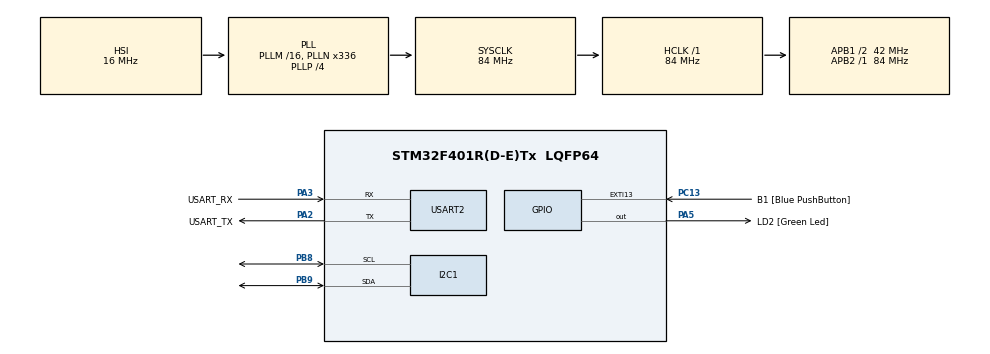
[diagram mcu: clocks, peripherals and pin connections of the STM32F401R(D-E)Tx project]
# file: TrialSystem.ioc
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Mcu.Family=STM32F4
Mcu.Name=STM32F401R(D-E)Tx
Mcu.Package=LQFP64
NVIC.PriorityGroup=NVIC_PRIORITYGROUP_0
PA13.GPIO_Label=TMS
PA13.Mode=Serial_Wire
PA13.Signal=SYS_JTMS-SWDIO
PA14.GPIO_Label=TCK
PA14.Mode=Serial_Wire
PA14.Signal=SYS_JTCK-SWCLK
PA2.GPIO_Label=USART_TX
PA2.GPIO_Mode=GPIO_MODE_AF_PP
PA2.GPIO_PuPd=GPIO_NOPULL
PA2.GPIO_Speed=GPIO_SPEED_FREQ_LOW
PA2.Mode=Asynchronous
PA2.Signal=USART2_TX
PA3.GPIO_Label=USART_RX
PA3.GPIO_Mode=GPIO_MODE_AF_PP
PA3.GPIO_PuPd=GPIO_NOPULL
PA3.GPIO_Speed=GPIO_SPEED_FREQ_LOW
PA3.Mode=Asynchronous
PA3.Signal=USART2_RX
PA5.GPIO_Label=LD2 [Green Led]
PA5.GPIO_Mode=GPIO_MODE_OUTPUT_PP
PA5.GPIO_PuPd=GPIO_NOPULL
PA5.GPIO_Speed=GPIO_SPEED_FREQ_LOW
PA5.Signal=GPIO_Output
PB3.GPIO_Label=SWO
PB3.Signal=SYS_JTDO-SWO
PB8.Mode=I2C
PB8.Signal=I2C1_SCL
PB9.Mode=I2C
PB9.Signal=I2C1_SDA
PC13-ANTI_TAMP.GPIO_Label=B1 [Blue PushButton]
PC13-ANTI_TAMP.GPIO_ModeDefaultEXTI=GPIO_MODE_IT_FALLING
PC13-ANTI_TAMP.GPIO_PuPd=GPIO_NOPULL
PC13-ANTI_TAMP.Signal=GPXTI13
PC14-OSC32_IN.Mode=LSE-External-Oscillator
PC14-OSC32_IN.Signal=RCC_OSC32_IN
PC15-OSC32_OUT.Mode=LSE-External-Oscillator
PC15-OSC32_OUT.Signal=RCC_OSC32_OUT
PH0\ -\ OSC_IN.Mode=HSE-External-Clock-Source
PH0\ -\ OSC_IN.Signal=RCC_OSC_IN
PH1\ -\ OSC_OUT.Mode=HSE-External-Clock-Source
PH1\ -\ OSC_OUT.Signal=RCC_OSC_OUT
ProjectManager.HeapSize=0x200
ProjectManager.StackSize=0x400
ProjectManager.TargetToolchain=STM32CubeIDE
RCC.48MHZClocksFreq_Value=48000000
RCC.AHBFreq_Value=84000000
RCC.APB1CLKDivider=RCC_HCLK_DIV2
RCC.APB1Freq_Value=42000000
RCC.APB1TimFreq_Value=84000000
RCC.APB2Freq_Value=84000000
RCC.APB2TimFreq_Value=84000000
RCC.CortexFreq_Value=84000000
RCC.HCLKFreq_Value=84000000
RCC.HSE_VALUE=8000000
RCC.HSI_VALUE=16000000
RCC.PLLN=336
RCC.PLLP=RCC_PLLP_DIV4
RCC.PLLQ=7
RCC.SYSCLKFreq_VALUE=84000000
RCC.SYSCLKSource=RCC_SYSCLKSOURCE_PLLCLK
RCC.VCOOutputFreq_Value=336000000
USART2.VirtualMode=VM_ASYNC
board=NUCLEO-F401RE

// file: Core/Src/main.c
/* USER CODE BEGIN Header */
/**
 ******************************************************************************
 * @file           : main.c
 * @brief          : Main program body
 ******************************************************************************
 * @attention
 *
 * Copyright (c) 2022 STMicroelectronics.
 * All rights reserved.
 *
 * This software is licensed under terms that can be found in the LICENSE file
 * in the root directory of this software component.
 * If no LICENSE file comes with this software, it is provided AS-IS.
 *
 ******************************************************************************
 */
/* USER CODE END Header */
#include "main.h"

/* USER CODE BEGIN Includes */
#include <string.h> // Imports needed for us to use string-formatting and output to console/terminal.
#include <stdio.h>
/* USER CODE END Includes */

I2C_HandleTypeDef hi2c1;

UART_HandleTypeDef huart2;

/* USER CODE BEGIN PV */
uint8_t IMU_ADDRESS = 0x69 << 1; // The sensor's address, left-shifted by one due to it only taking 7 bits.
int8_t buf[23];                  // An array that will be used to hold read/write data.
double val;                      // Variable to help convert read sensor data from bits to decimals.
double preVal;                   // Variable to help remove outlier sensor readings.
HAL_StatusTypeDef ret;           // Variable that will hold the status of a communication so we can check for errors.
/* USER CODE END PV */

void SystemClock_Config(void);
static void MX_GPIO_Init(void);
static void MX_USART2_UART_Init(void);
static void MX_I2C1_Init(void);

/* USER CODE BEGIN 0 */

void readRegister(uint8_t reg, uint8_t *buffer)
{
  ret = HAL_I2C_Mem_Read(&hi2c1, IMU_ADDRESS, reg, 1, buffer, 1, HAL_MAX_DELAY); // Reading from register.
  if (ret != HAL_OK)                                                             // Checking that no errors occurred while reading.
  {
    strcpy((char *)buffer, "Error!\r\n");
  }
  else
  {
    val = (double)((buffer[0]));                          // Converts read data into decimal number format.
    sprintf((char *)buffer, "%u\r\n", (unsigned int)val); // String-formats the read data and stores it.
  }
  HAL_UART_Transmit(&huart2, buffer, strlen((char *)buffer), HAL_MAX_DELAY); // Prints out read data to serial terminal.
  HAL_Delay(500);
}

void writeToRegister(uint8_t reg, uint8_t buffer, uint8_t bobo)
{
  ret = HAL_I2C_Mem_Write(&hi2c1, IMU_ADDRESS, reg, 1, buffer, 1, HAL_MAX_DELAY); // Writing to register.
  if (bobo)
  {
    if (ret != HAL_OK) // Checking that no errors occurred while writing.
    {
      strcpy((char *)buffer, "Error!\r\n");
    }
    else
    {
      strcpy((char *)buffer, "Good!\r\n");
    }
    HAL_UART_Transmit(&huart2, buffer, strlen((char *)buffer), HAL_MAX_DELAY); // Prints out the status to serial terminal.
    HAL_Delay(500);
  }
}

void bankSelect(uint8_t num) // Function to switch between banks.
{
  writeToRegister(0x7F, (num & 0b11) << 4, 1);
}

void startUp() // Function that holds all of the setup read/write commands needed before sensor data is taken.
{
  bankSelect(0);
  buf[0] = 0;
  writeToRegister(0x06, &buf, 0);
  bankSelect(3);
  buf[0] = 0x8C;
  writeToRegister(0x3, &buf, 0);
  buf[0] = 0x10;
  writeToRegister(0x4, &buf, 0);
  buf[0] = 0x89;
  writeToRegister(0x5, &buf, 0);
  bankSelect(2);
  readRegister(0x00, &buf);
  readRegister(0x14, &buf);

  val = (double)((buf[0]) >> 4); // Reading the accelerometer's state to see what it is set to.
  sprintf((char *)buf, "%u\r\n", (unsigned int)val);
  HAL_UART_Transmit(&huart2, buf, strlen((char *)buf), HAL_MAX_DELAY);
  HAL_Delay(500);

  bankSelect(0);
}
/* USER CODE END 0 */

int main(void)
{

  /* MCU Configuration--------------------------------------------------------*/

  /* Reset of all peripherals, Initializes the Flash interface and the Systick. */
  HAL_Init();

  /* Configure the system clock */
  SystemClock_Config();

  /* Initialize all configured peripherals */
  MX_GPIO_Init();
  MX_USART2_UART_Init();
  MX_I2C1_Init();
  /* USER CODE BEGIN 2 */
  startUp();
  ret = HAL_I2C_Mem_Read(&hi2c1, IMU_ADDRESS, 0x2D, 1, buf, 23, HAL_MAX_DELAY);
  if (ret != HAL_OK)
  {
    preVal = -9.99;
  }
  else
  {
    preVal = (double)((buf[12] << 8 | buf[13]) / 333.87 + 21 - 3); // This conversion was found in the data-sheet
  }
  /* USER CODE END 2 */

  /* Infinite loop */
  /* USER CODE BEGIN WHILE */
  while (1)
  {
    ret = HAL_I2C_Mem_Read(&hi2c1, IMU_ADDRESS, 0x2D, 1, buf, 23, HAL_MAX_DELAY);
    if (ret != HAL_OK)
    {
      strcpy((char *)buf, "Error!\r\n");
    }
    else
    {
      val = (double)((buf[12] << 8 | buf[13]) / 333.87 + 21 - 3); // This conversion was found in the data-sheet
      sprintf((char *)buf, "%.2f°C\r\n", val);                    // uploaded to LEARN for the ICM-20948 IMU.
    }
    if (((preVal - val) * (preVal - val)) < 10) // Removing outlier values that jump too suddenly.
    {
      preVal = val;
      HAL_UART_Transmit(&huart2, buf, strlen((char *)buf), HAL_MAX_DELAY); // Prints out read data to serial terminal.
      HAL_Delay(500);
    }
    /* USER CODE END WHILE */

  }
}

void SystemClock_Config(void)
{
  RCC_OscInitTypeDef RCC_OscInitStruct = {0};
  RCC_ClkInitTypeDef RCC_ClkInitStruct = {0};

  /** Configure the main internal regulator output voltage
   */
  __HAL_RCC_PWR_CLK_ENABLE();
  __HAL_PWR_VOLTAGESCALING_CONFIG(PWR_REGULATOR_VOLTAGE_SCALE2);

  /** Initializes the RCC Oscillators according to the specified parameters
   * in the RCC_OscInitTypeDef structure.
   */
  RCC_OscInitStruct.OscillatorType = RCC_OSCILLATORTYPE_HSI;
  RCC_OscInitStruct.HSIState = RCC_HSI_ON;
  RCC_OscInitStruct.HSICalibrationValue = RCC_HSICALIBRATION_DEFAULT;
  RCC_OscInitStruct.PLL.PLLState = RCC_PLL_ON;
  RCC_OscInitStruct.PLL.PLLSource = RCC_PLLSOURCE_HSI;
  RCC_OscInitStruct.PLL.PLLM = 16;
  RCC_OscInitStruct.PLL.PLLN = 336;
  RCC_OscInitStruct.PLL.PLLP = RCC_PLLP_DIV4;
  RCC_OscInitStruct.PLL.PLLQ = 7;
  if (HAL_RCC_OscConfig(&RCC_OscInitStruct) != HAL_OK)
  {
    Error_Handler();
  }

  /** Initializes the CPU, AHB and APB buses clocks
   */
  RCC_ClkInitStruct.ClockType = RCC_CLOCKTYPE_HCLK | RCC_CLOCKTYPE_SYSCLK | RCC_CLOCKTYPE_PCLK1 | RCC_CLOCKTYPE_PCLK2;
  RCC_ClkInitStruct.SYSCLKSource = RCC_SYSCLKSOURCE_PLLCLK;
  RCC_ClkInitStruct.AHBCLKDivider = RCC_SYSCLK_DIV1;
  RCC_ClkInitStruct.APB1CLKDivider = RCC_HCLK_DIV2;
  RCC_ClkInitStruct.APB2CLKDivider = RCC_HCLK_DIV1;

  if (HAL_RCC_ClockConfig(&RCC_ClkInitStruct, FLASH_LATENCY_2) != HAL_OK)
  {
    Error_Handler();
  }
}

static void MX_I2C1_Init(void)
{

  hi2c1.Instance = I2C1;
  hi2c1.Init.ClockSpeed = 100000;
  hi2c1.Init.DutyCycle = I2C_DUTYCYCLE_2;
  hi2c1.Init.OwnAddress1 = 0;
  hi2c1.Init.AddressingMode = I2C_ADDRESSINGMODE_7BIT;
  hi2c1.Init.DualAddressMode = I2C_DUALADDRESS_DISABLE;
  hi2c1.Init.OwnAddress2 = 0;
  hi2c1.Init.GeneralCallMode = I2C_GENERALCALL_DISABLE;
  hi2c1.Init.NoStretchMode = I2C_NOSTRETCH_DISABLE;
  if (HAL_I2C_Init(&hi2c1) != HAL_OK)
  {
    Error_Handler();
  }
}

static void MX_USART2_UART_Init(void)
{

  huart2.Instance = USART2;
  huart2.Init.BaudRate = 115200;
  huart2.Init.WordLength = UART_WORDLENGTH_8B;
  huart2.Init.StopBits = UART_STOPBITS_1;
  huart2.Init.Parity = UART_PARITY_NONE;
  huart2.Init.Mode = UART_MODE_TX_RX;
  huart2.Init.HwFlowCtl = UART_HWCONTROL_NONE;
  huart2.Init.OverSampling = UART_OVERSAMPLING_16;
  if (HAL_UART_Init(&huart2) != HAL_OK)
  {
    Error_Handler();
  }
}

static void MX_GPIO_Init(void)
{
  GPIO_InitTypeDef GPIO_InitStruct = {0};

  /* GPIO Ports Clock Enable */
  __HAL_RCC_GPIOC_CLK_ENABLE();
  __HAL_RCC_GPIOH_CLK_ENABLE();
  __HAL_RCC_GPIOA_CLK_ENABLE();
  __HAL_RCC_GPIOB_CLK_ENABLE();

  /*Configure GPIO pin Output Level */
  HAL_GPIO_WritePin(LD2_GPIO_Port, LD2_Pin, GPIO_PIN_RESET);

  /*Configure GPIO pin : B1_Pin */
  GPIO_InitStruct.Pin = B1_Pin;
  GPIO_InitStruct.Mode = GPIO_MODE_IT_FALLING;
  GPIO_InitStruct.Pull = GPIO_NOPULL;
  HAL_GPIO_Init(B1_GPIO_Port, &GPIO_InitStruct);

  /*Configure GPIO pin : LD2_Pin */
  GPIO_InitStruct.Pin = LD2_Pin;
  GPIO_InitStruct.Mode = GPIO_MODE_OUTPUT_PP;
  GPIO_InitStruct.Pull = GPIO_NOPULL;
  GPIO_InitStruct.Speed = GPIO_SPEED_FREQ_LOW;
  HAL_GPIO_Init(LD2_GPIO_Port, &GPIO_InitStruct);
}

void Error_Handler(void)
{
  __disable_irq();
  while (1)
  {
  }
}
